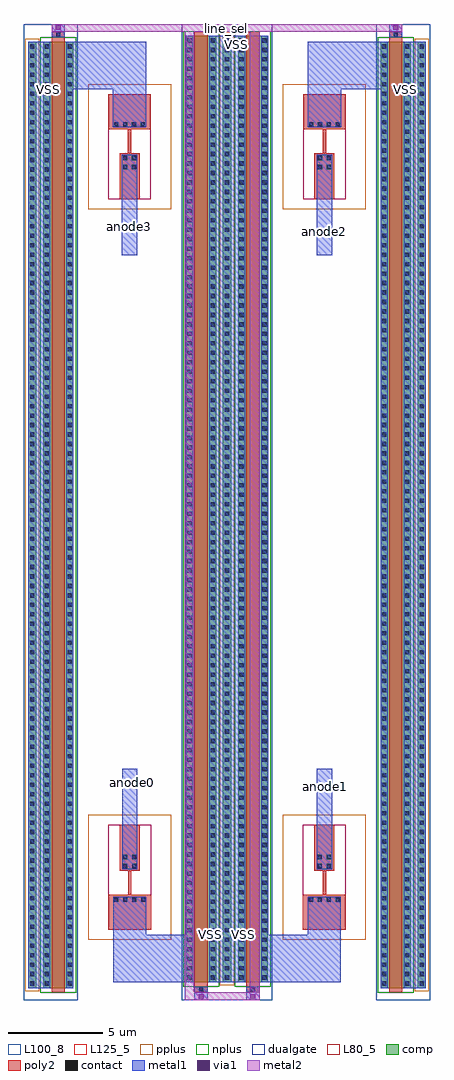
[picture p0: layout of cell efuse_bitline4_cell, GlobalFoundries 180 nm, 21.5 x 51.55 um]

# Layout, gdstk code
import gdstk
lib = gdstk.Library(unit=1e-6, precision=1e-09)
def R(c, l, rs):  # rectangles x0, y0, x1, y1
    for r in rs: c.add(gdstk.rectangle(r[:2], r[2:], *l))
def A(c, l, x, y, w, h, nx, ny, dx, dy):  # array of equal rectangles
    R(c, l, [(x+i*dx, y+j*dy, x+i*dx+w, y+j*dy+h) for i in range(nx) for j in range(ny)])
comp = (22, 0)
poly2 = (30, 0)
pplus = (31, 0)
nplus = (32, 0)
contact = (33, 0)
metal1 = (34, 0)
via1 = (35, 0)
metal2 = (36, 0)
dualgate = (55, 0)
L80_5 = (80, 5)
L100_8 = (100, 8)
L125_5 = (125, 5)

efuse_bitline4_cell = lib.new_cell('efuse_bitline4_cell')
R(efuse_bitline4_cell, comp, [(0.235,0.635,0.675,50.635), (1.035,0.635,2.615,50.635), (18.87,0.635,20.45,50.635), (20.81,0.635,21.25,50.635), (8.585,0.95,10.165,50.95), (10.525,0.95,10.965,50.95), (10.525,0.95,10.965,50.95), (11.325,0.95,12.905,50.95)])
R(efuse_bitline4_cell, poly2, [(1.475,0.415,2.175,50.855), (9.025,0.415,9.725,0.73), (11.765,0.415,12.465,0.73), (19.31,0.415,20.01,50.855), (9.025,0.73,9.725,51.17), (11.765,0.73,12.465,51.17), (4.475,3.73,6.735,5.57), (14.755,3.73,17.015,5.57), (5.515,5.57,5.695,6.83), (15.795,5.57,15.975,6.83), (5.075,6.83,6.135,9.26), (15.355,6.83,16.415,9.26), (5.065,42.325,6.125,44.755), (15.36,42.325,16.42,44.755), (5.505,44.755,5.685,46.015), (15.8,44.755,15.98,46.015), (4.465,46.015,6.725,47.855), (14.76,46.015,17.02,47.855), (1.475,50.855,2.175,51.17), (19.31,50.855,20.01,51.17)])
R(efuse_bitline4_cell, pplus, [(0.075,0.475,0.835,50.795), (20.65,0.475,21.41,50.795), (10.365,0.79,11.125,51.11), (10.365,0.79,11.125,51.11), (3.415,3.2,7.795,9.79), (13.695,3.2,18.075,9.79), (3.405,41.795,7.785,48.385), (13.7,41.795,18.08,48.385)])
R(efuse_bitline4_cell, nplus, [(0.875,0.405,2.775,50.865), (18.71,0.405,20.61,50.865), (8.425,0.72,10.325,51.18), (11.165,0.72,13.065,51.18)])
A(efuse_bitline4_cell, contact, 0.345, 0.775, 0.22, 0.22, 1, 100, 0, 0.5)
A(efuse_bitline4_cell, contact, 1.105, 0.775, 0.22, 0.22, 1, 100, 0, 0.5)
A(efuse_bitline4_cell, contact, 2.325, 0.775, 0.22, 0.22, 1, 100, 0, 0.5)
A(efuse_bitline4_cell, contact, 18.94, 0.775, 0.22, 0.22, 1, 100, 0, 0.5)
A(efuse_bitline4_cell, contact, 20.16, 0.775, 0.22, 0.22, 1, 100, 0, 0.5)
A(efuse_bitline4_cell, contact, 20.92, 0.775, 0.22, 0.22, 1, 100, 0, 0.5)
A(efuse_bitline4_cell, contact, 8.655, 1.09, 0.22, 0.22, 1, 100, 0, 0.5)
A(efuse_bitline4_cell, contact, 9.875, 1.09, 0.22, 0.22, 1, 100, 0, 0.5)
A(efuse_bitline4_cell, contact, 11.395, 1.09, 0.22, 0.22, 1, 100, 0, 0.5)
A(efuse_bitline4_cell, contact, 12.615, 1.09, 0.22, 0.22, 1, 100, 0, 0.5)
A(efuse_bitline4_cell, contact, 4.79, 5.195, 0.22, 0.22, 4, 1, 0.47, 0)
A(efuse_bitline4_cell, contact, 15.07, 5.195, 0.22, 0.22, 4, 1, 0.47, 0)
A(efuse_bitline4_cell, contact, 4.78, 46.17, 0.22, 0.22, 4, 1, 0.47, 0)
A(efuse_bitline4_cell, contact, 15.075, 46.17, 0.22, 0.22, 4, 1, 0.47, 0)
R(efuse_bitline4_cell, contact, [(9.265,0.485,9.485,0.705), (12.005,0.485,12.225,0.705), (10.635,1.09,10.855,1.31), (10.635,1.09,10.855,1.31), (10.635,1.59,10.855,1.81), (10.635,1.59,10.855,1.81), (10.635,2.09,10.855,2.31), (10.635,2.09,10.855,2.31), (10.635,2.59,10.855,2.81), (10.635,2.59,10.855,2.81), (10.635,3.09,10.855,3.31), (10.635,3.09,10.855,3.31), (10.635,3.59,10.855,3.81), (10.635,3.59,10.855,3.81), (10.635,4.09,10.855,4.31), (10.635,4.09,10.855,4.31), (10.635,4.59,10.855,4.81), (10.635,4.59,10.855,4.81), (10.635,5.09,10.855,5.31), (10.635,5.09,10.855,5.31), (6.2,5.195,6.42,5.415), (15.07,5.195,15.29,5.415), (10.635,5.59,10.855,5.81), (10.635,5.59,10.855,5.81), (10.635,6.09,10.855,6.31), (10.635,6.09,10.855,6.31), (10.635,6.59,10.855,6.81), (10.635,6.59,10.855,6.81), (5.26,6.985,5.48,7.205), (5.73,6.985,5.95,7.205), (15.54,6.985,15.76,7.205), (16.01,6.985,16.23,7.205), (10.635,7.09,10.855,7.31), (10.635,7.09,10.855,7.31), (5.26,7.455,5.48,7.675), (5.73,7.455,5.95,7.675), (5.73,7.455,5.95,7.675), (15.54,7.455,15.76,7.675), (15.54,7.455,15.76,7.675), (16.01,7.455,16.23,7.675), (10.635,7.59,10.855,7.81), (10.635,7.59,10.855,7.81), (10.635,8.09,10.855,8.31), (10.635,8.09,10.855,8.31), (10.635,8.59,10.855,8.81), (10.635,8.59,10.855,8.81), (10.635,9.09,10.855,9.31), (10.635,9.09,10.855,9.31), (10.635,9.59,10.855,9.81), (10.635,9.59,10.855,9.81), (10.635,10.09,10.855,10.31), (10.635,10.09,10.855,10.31), (10.635,10.59,10.855,10.81), (10.635,10.59,10.855,10.81), (10.635,11.09,10.855,11.31), (10.635,11.09,10.855,11.31), (10.635,11.59,10.855,11.81), (10.635,11.59,10.855,11.81), (10.635,12.09,10.855,12.31), (10.635,12.09,10.855,12.31), (10.635,12.59,10.855,12.81), (10.635,12.59,10.855,12.81), (10.635,13.09,10.855,13.31), (10.635,13.09,10.855,13.31), (10.635,13.59,10.855,13.81), (10.635,13.59,10.855,13.81), (10.635,14.09,10.855,14.31), (10.635,14.09,10.855,14.31), (10.635,14.59,10.855,14.81), (10.635,14.59,10.855,14.81), (10.635,15.09,10.855,15.31), (10.635,15.09,10.855,15.31), (10.635,15.59,10.855,15.81), (10.635,15.59,10.855,15.81), (10.635,16.09,10.855,16.31), (10.635,16.09,10.855,16.31), (10.635,16.59,10.855,16.81), (10.635,16.59,10.855,16.81), (10.635,17.09,10.855,17.31), (10.635,17.09,10.855,17.31), (10.635,17.59,10.855,17.81), (10.635,17.59,10.855,17.81), (10.635,18.09,10.855,18.31), (10.635,18.09,10.855,18.31), (10.635,18.59,10.855,18.81), (10.635,18.59,10.855,18.81), (10.635,19.09,10.855,19.31), (10.635,19.09,10.855,19.31), (10.635,19.59,10.855,19.81), (10.635,19.59,10.855,19.81), (10.635,20.09,10.855,20.31), (10.635,20.09,10.855,20.31), (10.635,20.59,10.855,20.81), (10.635,20.59,10.855,20.81), (10.635,21.09,10.855,21.31), (10.635,21.09,10.855,21.31), (10.635,21.59,10.855,21.81), (10.635,21.59,10.855,21.81), (10.635,22.09,10.855,22.31), (10.635,22.09,10.855,22.31), (10.635,22.59,10.855,22.81), (10.635,22.59,10.855,22.81), (10.635,23.09,10.855,23.31), (10.635,23.09,10.855,23.31), (10.635,23.59,10.855,23.81), (10.635,23.59,10.855,23.81), (10.635,24.09,10.855,24.31), (10.635,24.09,10.855,24.31), (10.635,24.59,10.855,24.81), (10.635,24.59,10.855,24.81), (10.635,25.09,10.855,25.31), (10.635,25.09,10.855,25.31), (10.635,25.59,10.855,25.81), (10.635,25.59,10.855,25.81), (10.635,26.09,10.855,26.31), (10.635,26.09,10.855,26.31), (10.635,26.59,10.855,26.81), (10.635,26.59,10.855,26.81), (10.635,27.09,10.855,27.31), (10.635,27.09,10.855,27.31), (10.635,27.59,10.855,27.81), (10.635,27.59,10.855,27.81), (10.635,28.09,10.855,28.31), (10.635,28.09,10.855,28.31), (10.635,28.59,10.855,28.81), (10.635,28.59,10.855,28.81), (10.635,29.09,10.855,29.31), (10.635,29.09,10.855,29.31), (10.635,29.59,10.855,29.81), (10.635,29.59,10.855,29.81), (10.635,30.09,10.855,30.31), (10.635,30.09,10.855,30.31), (10.635,30.59,10.855,30.81), (10.635,30.59,10.855,30.81), (10.635,31.09,10.855,31.31), (10.635,31.09,10.855,31.31), (10.635,31.59,10.855,31.81), (10.635,31.59,10.855,31.81), (10.635,32.09,10.855,32.31), (10.635,32.09,10.855,32.31), (10.635,32.59,10.855,32.81), (10.635,32.59,10.855,32.81), (10.635,33.09,10.855,33.31), (10.635,33.09,10.855,33.31), (10.635,33.59,10.855,33.81), (10.635,33.59,10.855,33.81), (10.635,34.09,10.855,34.31), (10.635,34.09,10.855,34.31), (10.635,34.59,10.855,34.81), (10.635,34.59,10.855,34.81), (10.635,35.09,10.855,35.31), (10.635,35.09,10.855,35.31), (10.635,35.59,10.855,35.81), (10.635,35.59,10.855,35.81), (10.635,36.09,10.855,36.31), (10.635,36.09,10.855,36.31), (10.635,36.59,10.855,36.81), (10.635,36.59,10.855,36.81), (10.635,37.09,10.855,37.31), (10.635,37.09,10.855,37.31), (10.635,37.59,10.855,37.81), (10.635,37.59,10.855,37.81), (10.635,38.09,10.855,38.31), (10.635,38.09,10.855,38.31), (10.635,38.59,10.855,38.81), (10.635,38.59,10.855,38.81), (10.635,39.09,10.855,39.31), (10.635,39.09,10.855,39.31), (10.635,39.59,10.855,39.81), (10.635,39.59,10.855,39.81), (10.635,40.09,10.855,40.31), (10.635,40.09,10.855,40.31), (10.635,40.59,10.855,40.81), (10.635,40.59,10.855,40.81), (10.635,41.09,10.855,41.31), (10.635,41.09,10.855,41.31), (10.635,41.59,10.855,41.81), (10.635,41.59,10.855,41.81), (10.635,42.09,10.855,42.31), (10.635,42.09,10.855,42.31), (10.635,42.59,10.855,42.81), (10.635,42.59,10.855,42.81), (10.635,43.09,10.855,43.31), (10.635,43.09,10.855,43.31), (10.635,43.59,10.855,43.81), (10.635,43.59,10.855,43.81), (5.25,43.91,5.47,44.13), (5.25,43.91,5.47,44.13), (5.72,43.91,5.94,44.13), (15.545,43.91,15.765,44.13), (16.015,43.91,16.235,44.13), (16.015,43.91,16.235,44.13), (10.635,44.09,10.855,44.31), (10.635,44.09,10.855,44.31), (5.25,44.38,5.47,44.6), (5.72,44.38,5.94,44.6), (15.545,44.38,15.765,44.6), (16.015,44.38,16.235,44.6), (10.635,44.59,10.855,44.81), (10.635,44.59,10.855,44.81), (10.635,45.09,10.855,45.31), (10.635,45.09,10.855,45.31), (10.635,45.59,10.855,45.81), (10.635,45.59,10.855,45.81), (10.635,46.09,10.855,46.31), (10.635,46.09,10.855,46.31), (4.78,46.17,5,46.39), (16.485,46.17,16.705,46.39), (10.635,46.59,10.855,46.81), (10.635,46.59,10.855,46.81), (10.635,47.09,10.855,47.31), (10.635,47.09,10.855,47.31), (10.635,47.59,10.855,47.81), (10.635,47.59,10.855,47.81), (10.635,48.09,10.855,48.31), (10.635,48.09,10.855,48.31), (10.635,48.59,10.855,48.81), (10.635,48.59,10.855,48.81), (10.635,49.09,10.855,49.31), (10.635,49.09,10.855,49.31), (10.635,49.59,10.855,49.81), (10.635,49.59,10.855,49.81), (10.635,50.09,10.855,50.31), (10.635,50.09,10.855,50.31), (10.635,50.59,10.855,50.81), (10.635,50.59,10.855,50.81), (1.715,50.88,1.935,51.1), (19.55,50.88,19.77,51.1)])
R(efuse_bitline4_cell, metal1, [(9.025,0.015,9.725,0.715), (11.765,0.015,12.465,0.715), (1.025,0.625,1.405,50.645), (2.255,0.625,2.625,50.645), (18.86,0.625,19.23,50.645), (20.08,0.625,20.46,50.645), (0.235,0.635,1.405,50.645), (0.235,0.635,0.675,50.635), (20.08,0.635,21.25,50.645), (20.81,0.635,21.25,50.635), (4.73,0.94,6.48,5.475), (4.92,0.94,8.945,3.455), (8.575,0.94,8.945,50.96), (9.795,0.94,10.965,50.95), (9.795,0.94,10.175,50.96), (10.525,0.94,11.695,50.95), (11.315,0.94,11.695,50.96), (12.545,0.94,16.57,3.455), (12.545,0.94,12.915,50.96), (15.01,0.94,16.76,5.475), (10.525,0.95,10.965,50.95), (10.525,0.95,10.965,50.95), (0.675,0.995,1.025,3.495), (20.46,0.995,20.81,3.495), (10.175,1.085,10.525,3.085), (10.965,1.085,11.315,3.085), (5.2,6.925,6.01,12.22), (15.48,6.925,16.29,12.22), (0.675,16.995,1.025,18.995), (20.46,16.995,20.81,18.995), (10.175,32.59,10.525,34.59), (10.965,32.59,11.315,34.59), (5.19,39.365,6,44.66), (15.485,39.365,16.295,44.66), (4.72,46.11,6.47,50.645), (15.015,46.11,16.765,50.645), (10.175,48.09,10.525,50.59), (10.965,48.09,11.315,50.59), (2.255,48.13,6.28,50.645), (15.205,48.13,19.23,50.645), (0.675,48.5,1.025,50.5), (20.46,48.5,20.81,50.5), (1.475,50.87,2.175,51.57), (19.31,50.87,20.01,51.57)])
R(efuse_bitline4_cell, via1, [(9.25,0.07,9.51,0.33), (11.98,0.07,12.24,0.33), (1.69,51.255,1.95,51.515), (19.535,51.255,19.795,51.515)])
R(efuse_bitline4_cell, metal2, [(8.5,0.015,9.025,51.155), (9.025,0.015,9.725,0.415), (9.725,0.015,11.765,0.415), (11.765,0.015,12.465,0.415), (11.94,0.015,12.465,51.155), (1.475,51.155,20.01,51.57), (1.475,51.17,2.175,51.57), (19.31,51.17,20.01,51.57)])
R(efuse_bitline4_cell, dualgate, [(-0.005,0.015,2.855,51.255), (8.345,0.015,11.205,0.33), (10.285,0.015,13.145,0.33), (18.63,0.015,21.49,51.255), (8.345,0.33,11.205,51.57), (10.285,0.33,13.145,51.57), (-0.005,51.255,2.855,51.57), (18.63,51.255,21.49,51.57)])
R(efuse_bitline4_cell, L80_5, [(4.475,3.73,6.735,9.26), (14.755,3.73,17.015,9.26), (4.465,42.325,6.725,47.855), (14.76,42.325,17.02,47.855)])
R(efuse_bitline4_cell, L100_8, [(5.075,6.83,6.135,9.26), (15.355,6.83,16.415,9.26), (5.065,42.325,6.125,44.755), (15.36,42.325,16.42,44.755)])
R(efuse_bitline4_cell, L125_5, [(5.515,5.57,5.695,6.83), (15.795,5.57,15.975,6.83), (5.505,44.755,5.685,46.015), (15.8,44.755,15.98,46.015)])
efuse_bitline4_cell.add(gdstk.Label('VSS', (11.595,3.455), layer=34, texttype=10))
efuse_bitline4_cell.add(gdstk.Label('VSS', (9.895,3.455), layer=34, texttype=10))
efuse_bitline4_cell.add(gdstk.Label('VSS', (20.18,48.115), layer=34, texttype=10))
efuse_bitline4_cell.add(gdstk.Label('VSS', (1.305,48.13), layer=34, texttype=10))
efuse_bitline4_cell.add(gdstk.Label('anode3', (5.6,40.86), layer=34, texttype=10))
efuse_bitline4_cell.add(gdstk.Label('anode2', (15.885,40.615), layer=34, texttype=10))
efuse_bitline4_cell.add(gdstk.Label('anode1', (15.955,11.3), layer=34, texttype=10))
efuse_bitline4_cell.add(gdstk.Label('anode0', (5.725,11.51), layer=34, texttype=10))
efuse_bitline4_cell.add(gdstk.Label('VSS', (11.26,50.47), layer=46, texttype=10))
efuse_bitline4_cell.add(gdstk.Label('VSS', (10.23,50.47), layer=46, texttype=10))
efuse_bitline4_cell.add(gdstk.Label('line_sel', (10.735,51.345), layer=36, texttype=10))

lib.write_gds('efuse_bitline4_cell.gds')
